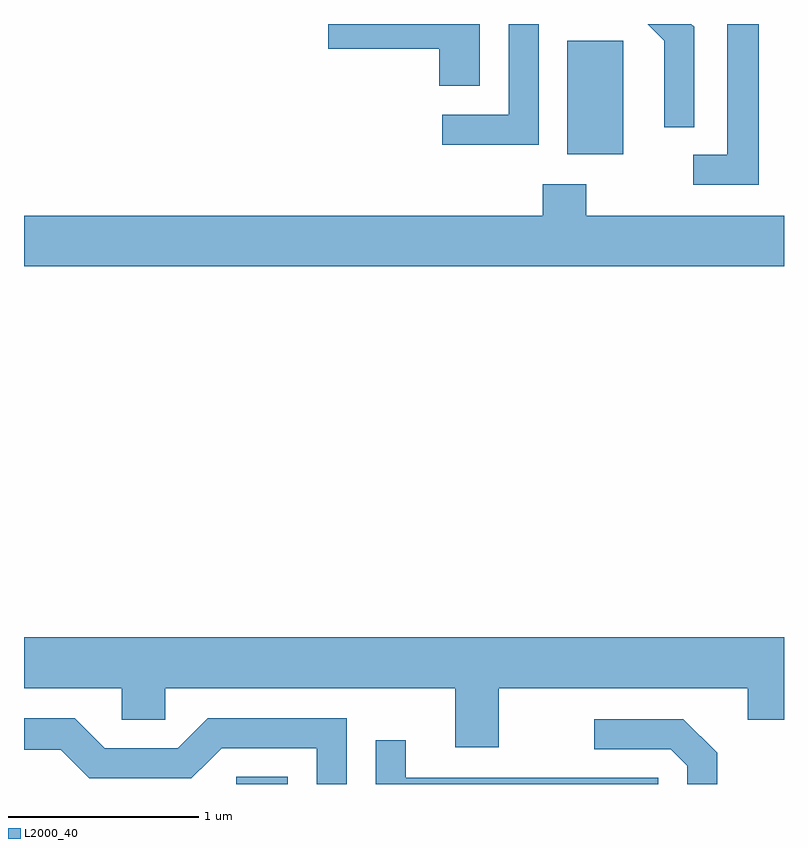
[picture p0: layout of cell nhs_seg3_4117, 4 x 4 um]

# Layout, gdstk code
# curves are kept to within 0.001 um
import gdstk
lib = gdstk.Library(unit=1e-6, precision=1e-09)
def R(c, l, rs):  # rectangles x0, y0, x1, y1
    for r in rs: c.add(gdstk.rectangle(r[:2], r[2:], *l))
def P(c, l, *ps):  # polygons
    for p in ps: c.add(gdstk.Polygon(p, *l))
L2000_40 = (2000, 40)

nhs_seg3_4117 = lib.new_cell('nhs_seg3_4117')
R(nhs_seg3_4117, L2000_40, [(306.728,1189.892,306.999,1189.929), (308.471,1193.206,308.764,1193.804)])
P(nhs_seg3_4117, L2000_40, [(308.319,1193.892),(308.161,1193.892),(308.161,1193.414),(307.813,1193.414),(307.813,1193.256),(308.319,1193.256)],
  [(309.139,1193.877),(309.124,1193.892),(308.893,1193.892),(308.981,1193.804),(308.981,1193.348),(309.139,1193.348)],
  [(308.009,1193.892),(307.211,1193.892),(307.211,1193.761),(307.796,1193.761),(307.796,1193.566),(308.009,1193.566)],
  [(309.479,1193.892),(309.311,1193.892),(309.311,1193.204),(309.133,1193.204),(309.133,1193.046),(309.479,1193.046)],
  [(309.611,1192.884),(308.569,1192.884),(308.569,1193.049),(308.341,1193.049),(308.341,1192.884),(305.611,1192.884),(305.611,1192.616),(309.611,1192.616)],
  [(308.109,1190.396),(309.421,1190.396),(309.421,1190.231),(309.611,1190.231),(309.611,1190.664),(305.611,1190.664),(305.611,1190.396),(306.126,1190.396),(306.126,1190.231),(306.354,1190.231),(306.354,1190.396),(307.881,1190.396),(307.881,1190.086),(308.109,1190.086)],
  [(307.309,1190.239),(306.579,1190.239),(306.419,1190.079),(306.037,1190.079),(305.877,1190.239),(305.611,1190.239),(305.611,1190.071),(305.804,1190.071),(305.954,1189.921),(306.492,1189.921),(306.652,1190.081),(307.151,1190.081),(307.151,1189.892),(307.309,1189.892)],
  [(309.259,1190.057),(309.082,1190.234),(308.613,1190.234),(308.613,1190.076),(309.014,1190.076),(309.101,1189.989),(309.101,1189.892),(309.259,1189.892)],
  [(308.949,1189.924),(307.619,1189.924),(307.619,1190.123),(307.461,1190.123),(307.461,1189.892),(308.949,1189.892)])

lib.write_gds('nhs_seg3_4117.gds')
